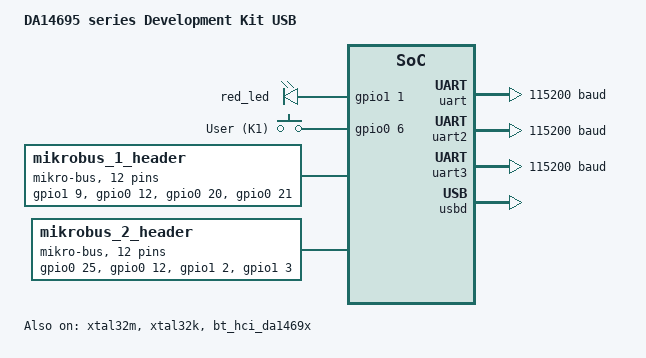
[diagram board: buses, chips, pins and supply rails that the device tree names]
/*
 * Copyright (c) 2023 Renesas Electronics Corporation and/or its affiliates
 * SPDX-License-Identifier: Apache-2.0
 */

/dts-v1/;
#include <renesas/smartbond/da14695.dtsi>
#include "da14695_dk_usb-pinctrl.dtsi"
#include <zephyr/dt-bindings/input/input-event-codes.h>

/ {
	model = "DA14695 series Development Kit USB";
	compatible = "renesas,da14695_dk_usb";
	#address-cells = <1>;
	#size-cells = <1>;

	chosen {
		zephyr,sram = &sram0;
		zephyr,flash = &flash0;
		zephyr,console = &uart;
		zephyr,shell-uart = &uart;
		zephyr,code-partition = &slot0_partition;
		zephyr,bt-hci = &bt_hci_da1469x;
	};

	leds {
		compatible = "gpio-leds";

		red_led: led_0 {
			gpios = <&gpio1 1 GPIO_ACTIVE_HIGH>;
		};
	};

	buttons {
		compatible = "gpio-keys";

		user_button: button {
			gpios = <&gpio0 6 (GPIO_PULL_DOWN | GPIO_ACTIVE_HIGH)>;
			label = "User (K1)";
			zephyr,code = <INPUT_KEY_0>;
		};
	};

	mikrobus_1_header: mikrobus-connector-1 {
		compatible = "mikro-bus";
		#gpio-cells = <2>;
		gpio-map-mask = <0xffffffff 0xffffffc0>;
		gpio-map-pass-thru = <0 0x3f>;
		gpio-map = <0 0 &gpio1 9 0>,	/* AN  */
			   <1 0 &gpio0 12 0>,	/* RST */
			   <2 0 &gpio0 20 0>,	/* CS   */
			   <3 0 &gpio0 21 0>,	/* SCK  */
			   <4 0 &gpio0 24 0>,	/* MISO */
			   <5 0 &gpio0 26 0>,	/* MOSI */
			   /* +3.3V */
			   /* GND */
			   <6 0 &gpio1 1 0>,	/* PWM  */
			   <7 0 &gpio0 27 0>,	/* INT  */
			   <8 0 &gpio0 28 0>,	/* RX   */
			   <9 0 &gpio0 29 0>,	/* TX   */
			   <10 0 &gpio0 30 0>,	/* SCL  */
			   <11 0 &gpio0 31 0>;	/* SDA  */
		/* +5V */
		/* GND */
	};

	mikrobus_2_header: mikrobus-connector-2 {
		compatible = "mikro-bus";
		#gpio-cells = <2>;
		gpio-map-mask = <0xffffffff 0xffffffc0>;
		gpio-map-pass-thru = <0 0x3f>;
		gpio-map = <0 0 &gpio0 25 0>,	/* AN  */
			   <1 0 &gpio0 12 0>,	/* RST */
			   <2 0 &gpio1 2 0>,	/* CS   */
			   <3 0 &gpio1 3 0>,	/* SCK  */
			   <4 0 &gpio1 4 0>,	/* MISO */
			   <5 0 &gpio1 5 0>,	/* MOSI */
			   /* +3.3V */
			   /* GND */
			   <6 0 &gpio1 6 0>,	/* PWM  */
			   <7 0 &gpio1 7 0>,	/* INT  */
			   <8 0 &gpio1 8 0>,	/* RX   */
			   <9 0 &gpio0 17 0>,	/* TX   */
			   <10 0 &gpio0 18 0>,	/* SCL  */
			   <11 0 &gpio0 19 0>;	/* SDA  */
		/* +5V */
		/* GND */
	};

	aliases {
		led0 = &red_led;
		watchdog0 = &wdog;
		sw0 = &user_button;
	};

	sysclk: system-clock {
		compatible = "fixed-clock";
		clock-frequency = <32000000>;
		#clock-cells = <0>;
	};
};

&flash0 {
	reg = <0x16000000 DT_SIZE_M(4)>;

	partitions {
		compatible = "fixed-partitions";
		#address-cells = <1>;
		#size-cells = <1>;

		/*
		 * By default, and due to executing from external flash memories, the I-cache
		 * controller is employed so that no latencies are introduced.
		 * Normally, the controller imposes that image's base address is aligned
		 * to CACHE_FLASH_REG[FLASH_REGION_SIZE], which should reflect image's
		 * size (should be configured on the fly at soc level based on the image size).
		 * The controller should allow for a small offset, up to 0x1000 words,
		 * in case image metadata should be appended.
		 * The current scheme imposes that mcuboot should occupy up to 64kB which is the
		 * minimum cacheable area and then slot0 and slot1 partition entries should follow
		 * without gaps in between.
		 */

		boot_partition: partition@2400 {
			label = "mcuboot";
			reg = <0x000002400 0x0000dc00>;
		};
		slot0_partition: partition@10000 {
			label = "image-0";
			reg = <0x00010000 DT_SIZE_K(512)>;
		};
		slot1_partition: partition@90000 {
			label = "image-1";
			reg = <0x00090000 DT_SIZE_K(512)>;
		};
		storage_partition: partition@110000 {
			label = "storage";
			reg = <0x00110000 DT_SIZE_K(32)>;
		};
	};
};

&gpio0 {
	status = "okay";
};

&gpio1 {
	status = "okay";
};

&uart {
	current-speed = <115200>;
	status = "okay";
	pinctrl-0 = <&uart_default>;
	pinctrl-names = "default";
};

&uart2 {
	current-speed = <115200>;
	pinctrl-0 = <&uart2_default>;
	pinctrl-names = "default";
};

&uart3 {
	current-speed = <115200>;
	pinctrl-0 = <&uart3_default>;
	pinctrl-names = "default";
};

zephyr_udc0: &usbd {
	compatible = "renesas,smartbond-usbd";
	status = "okay";
};

&rc32m {
	status = "disabled";
};

&xtal32m {
	status = "okay";
};

&xtal32k {
	status = "okay";
};

/*
 * On board level we switch to XTAL32K and
 * so RCX can be disabled.
 */
&rcx {
	status = "disabled";
};

&lp_clk {
	clock-src = <&xtal32k>;
};

&sys_clk {
	clock-src = <&xtal32m>;
};

&pll {
	status = "okay";
};

&i2c {
	pinctrl-0 = <&i2c_default>;
	pinctrl-1 = <&i2c_sleep>;
	pinctrl-names = "default", "sleep";
};

&i2c2 {
	pinctrl-0 = <&i2c2_default>;
	pinctrl-1 = <&i2c2_sleep>;
	pinctrl-names = "default", "sleep";
};

&spi {
	pinctrl-0 = <&spi_controller>;
	pinctrl-1 = <&spi_sleep>;
	pinctrl-names = "default", "sleep";
};

&spi2 {
	pinctrl-0 = <&spi2_controller>;
	pinctrl-1 = <&spi2_sleep>;
	pinctrl-names = "default", "sleep";
};

&bt_hci_da1469x {
	status = "okay";
};

mikrobus_1_i2c: &i2c {};

mikrobus_1_spi: &spi {};

mikrobus_1_uart: &uart3 {};

mikrobus_2_i2c: &i2c2 {};

mikrobus_2_spi: &spi2 {};

mikrobus_2_uart: &uart2 {};

mikrobus_i2c: &mikrobus_1_i2c {};

mikrobus_spi: &mikrobus_1_spi {};

mikrobus_serial: &mikrobus_1_uart {};

mikrobus_header: &mikrobus_1_header {};
